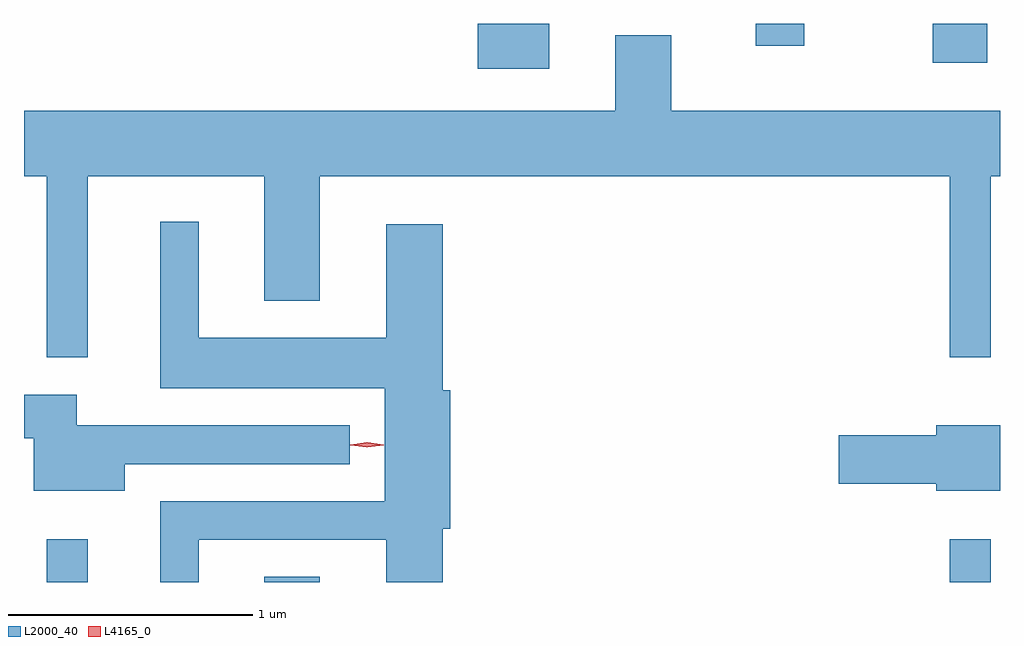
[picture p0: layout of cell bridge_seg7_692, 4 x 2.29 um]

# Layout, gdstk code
import gdstk
lib = gdstk.Library(unit=1e-6, precision=1e-09)
def R(c, l, rs):  # rectangles x0, y0, x1, y1
    for r in rs: c.add(gdstk.rectangle(r[:2], r[2:], *l))
def P(c, l, *ps):  # polygons
    for p in ps: c.add(gdstk.Polygon(p, *l))
L2000_40 = (2000, 40)
L4165_0 = (4165, 0)

bridge_seg7_692 = lib.new_cell('bridge_seg7_692')
R(bridge_seg7_692, L2000_40, [(877.281,1668.252,877.449,1668.428), (878.171,1668.252,878.399,1668.274), (880.981,1668.252,881.149,1668.428), (879.046,1670.356,879.339,1670.54), (880.911,1670.381,881.134,1670.54), (880.186,1670.451,880.384,1670.54)])
P(bridge_seg7_692, L2000_40, [(877.449,1669.916),(878.171,1669.916),(878.171,1669.406),(878.399,1669.406),(878.399,1669.916),(880.981,1669.916),(880.981,1669.173),(881.149,1669.173),(881.149,1669.916),(881.187,1669.916),(881.187,1670.184),(879.839,1670.184),(879.839,1670.494),(879.611,1670.494),(879.611,1670.184),(877.187,1670.184),(877.187,1669.916),(877.281,1669.916),(877.281,1669.173),(877.449,1669.173)],
  [(877.904,1668.426),(878.671,1668.426),(878.671,1668.252),(878.904,1668.252),(878.904,1668.471),(878.934,1668.471),(878.934,1669.039),(878.904,1669.039),(878.904,1669.719),(878.671,1669.719),(878.671,1669.254),(877.904,1669.254),(877.904,1669.728),(877.746,1669.728),(877.746,1669.046),(878.666,1669.046),(878.666,1668.584),(877.746,1668.584),(877.746,1668.252),(877.904,1668.252)],
  [(877.599,1668.736),(878.523,1668.736),(878.523,1668.894),(877.404,1668.894),(877.404,1669.019),(877.187,1669.019),(877.187,1668.841),(877.226,1668.841),(877.226,1668.626),(877.599,1668.626)],
  [(881.187,1668.894),(880.926,1668.894),(880.926,1668.854),(880.526,1668.854),(880.526,1668.656),(880.926,1668.656),(880.926,1668.626),(881.187,1668.626)])
P(bridge_seg7_692, L4165_0, [(878.593,1668.805),(878.524,1668.814),(878.524,1668.815),(878.524,1668.815),(878.593,1668.825),(878.661,1668.815),(878.662,1668.815),(878.661,1668.814)],
  [(878.592,1668.805),(878.527,1668.814),(878.527,1668.815),(878.527,1668.815),(878.592,1668.825),(878.657,1668.815),(878.657,1668.815),(878.657,1668.814)])

lib.write_gds('bridge_seg7_692.gds')
